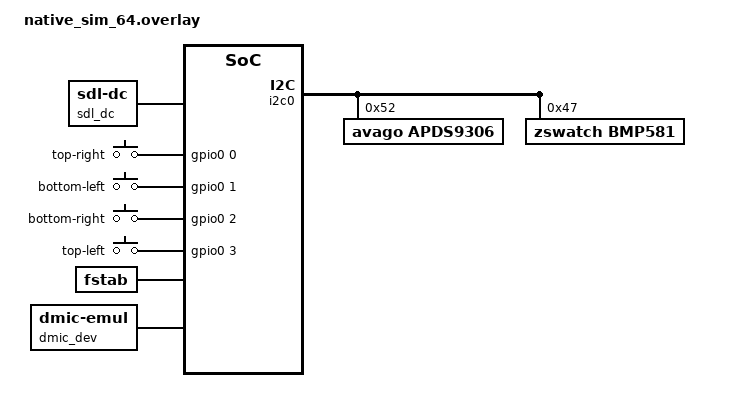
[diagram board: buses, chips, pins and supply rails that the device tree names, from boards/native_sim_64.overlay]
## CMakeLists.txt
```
# Copyright (c) 2025 ZSWatch Project
# SPDX-License-Identifier: Apache-2.0

cmake_minimum_required(VERSION 3.20.0)

set(BOARD_ROOT ${CMAKE_CURRENT_SOURCE_DIR})

find_package(Zephyr REQUIRED HINTS $ENV{ZEPHYR_BASE})
project(ZSWatchFW)

set(XIP_RELOCATE_SOURCES "")

zephyr_compile_definitions(
  -DNRF53_ERRATA_159_ENABLE_WORKAROUND=0 # Not allowing 128MHz CPU with QPSI at same time. We take the risk of this errata that may cause currupt QPSI data.
)

add_subdirectory(drivers)
add_subdirectory(src/history)
add_subdirectory(src/applications)
add_subdirectory(src/sensors)
add_subdirectory(src/sensor_fusion)
add_subdirectory(src/events)
add_subdirectory(src/managers)
add_subdirectory(src/drivers)
add_subdirectory(src/ble)
add_subdirectory(src/codec)
add_subdirectory(src/images)
add_subdirectory(src/ui)
add_subdirectory(lvgl_editor)


include_directories(src/)
include_directories(src/codec)
include_directories(src/ui)
include_directories(src/applications)
include_directories(src/managers)
include_directories(src/events)
include_directories(src/drivers)
include_directories(src/sensors)
include_directories(src/sensor_fusion)
include_directories(src/ble)

#
# Magnetometer calibration library
#


FILE(GLOB mag_calib_sources
    src/ext/magnetometer_calibration/*.c
)

target_sources(app PRIVATE ${mag_calib_sources})

target_include_directories(app PRIVATE
    src/ext/magnetometer_calibration
)



if(CONFIG_AUDIO_DMIC)
set(kissfft_sources
    src/ext_drivers/kissfft/kiss_fft.c
    src/ext_drivers/kissfft/kiss_fftr.c
)

target_sources(app PRIVATE ${kissfft_sources})

set_source_files_properties(${kissfft_sources} PROPERTIES
    COMPILE_OPTIONS "-include;zephyr/kernel.h"
)

target_include_directories(app PRIVATE src/ext_drivers/kissfft)

target_compile_definitions(app PRIVATE
    kiss_fft_scalar=float
    KISS_FFT_MALLOC=k_malloc
    KISS_FFT_FREE=k_free
)

endif()

if (CONFIG_DT_HAS_NORDIC_NPM1300_ENABLED)
    add_subdirectory(src/fuel_gauge)
else()
    add_subdirectory(src/basic_battery)
endif()

target_sources(app PRIVATE src/zsw_clock.c)
target_sources(app PRIVATE src/zsw_weather.c)
target_sources(app PRIVATE src/zsw_settings.c)
target_sources(app PRIVATE src/main.c)
target_sources(app PRIVATE src/zsw_wdt.c)
target_sources(app PRIVATE src/zsw_cpu_freq.c)
target_sources_ifdef(CONFIG_ZSW_FAST_MEMCPY app PRIVATE src/zsw_string.c)
target_sources(app PRIVATE src/zsw_retained_ram_storage.c)
target_sources(app PRIVATE src/zsw_coredump.c)
target_sources_ifdef(CONFIG_SHELL app PRIVATE src/zsw_shell.c)

target_sources(app PRIVATE src/ui/notification/zsw_popup_notification.c)
target_sources_ifdef(CONFIG_ZSW_NOTIFICATION_REPLY app PRIVATE src/ui/notification/zsw_notification_reply.c)
target_sources(app PRIVATE src/ui/popup/zsw_popup_window.c)
target_sources(app PRIVATE src/ui/app_picker/app_picker_ui.c)
target_sources(app PRIVATE src/ui/utils/zsw_ui_utils.c)
target_sources(app PRIVATE src/ui/onboarding/zsw_onboarding_ui.c)

target_sources_ifdef(CONFIG_SPI_FLASH_LOADER app PRIVATE src/filesystem/zsw_rtt_flash_loader.c)
target_sources_ifdef(CONFIG_FILE_SYSTEM_LITTLEFS app PRIVATE src/filesystem/zsw_filesystem.c)
target_sources_ifdef(CONFIG_FILE_SYSTEM app PRIVATE src/filesystem/zsw_custom_fs.c)
target_sources_ifdef(CONFIG_FILE_SYSTEM app PRIVATE src/filesystem/zsw_image_decoder.c)
target_sources_ifdef(CONFIG_FILE_SYSTEM app PRIVATE src/filesystem/zsw_custom_bg.c)

if(CONFIG_ZSW_FS_EMBEDDED_IMAGE)
    set(ZSW_FS_IMAGE_FILE ${CMAKE_CURRENT_BINARY_DIR}/lvgl_resources_raw.bin)
    set(ZSW_FS_IMAGE_SCRIPT ${CMAKE_CURRENT_SOURCE_DIR}/scripts/create_custom_resource_image.py)
    file(GLOB ZSW_FS_IMAGE_SOURCES CONFIGURE_DEPENDS src/images/binaries/S/*)
    if(CONFIG_ZSW_FS_TEST_LEGACY_IMAGE)
        set(ZSW_FS_IMAGE_ARGS --legacy)
    endif()

    add_custom_command(
        OUTPUT ${ZSW_FS_IMAGE_FILE}
        COMMAND ${PYTHON_EXECUTABLE} ${ZSW_FS_IMAGE_SCRIPT} ${ZSW_FS_IMAGE_ARGS}
                --img-filename ${ZSW_FS_IMAGE_FILE} ${CMAKE_CURRENT_SOURCE_DIR}/src/images/binaries/S
        DEPENDS ${ZSW_FS_IMAGE_SCRIPT} ${ZSW_FS_IMAGE_SOURCES}
        COMMENT "Generating image resource filesystem"
    )

    target_sources(app PRIVATE src/filesystem/zsw_custom_fs_embedded_image.c)
    set_source_files_properties(src/filesystem/zsw_custom_fs_embedded_image.c PROPERTIES
        COMPILE_DEFINITIONS ZSW_FS_EMBEDDED_IMAGE_FILE="${ZSW_FS_IMAGE_FILE}"
        OBJECT_DEPENDS ${ZSW_FS_IMAGE_FILE}
    )
endif()

target_sources_ifdef(CONFIG_RTC_ALARM app PRIVATE src/zsw_alarm.c)

target_compile_definitions(app PRIVATE _POSIX_C_SOURCE=200809L)

FILE(GLOB events_sources src/events/*.c)
target_sources(app PRIVATE ${events_sources})

add_compile_definitions(LV_LVGL_H_INCLUDE_SIMPLE)

file(GLOB ext_fs_files "src/images/binaries/S/*.*")
list(LENGTH ext_fs_files num_ext_fs_files)
add_compile_definitions(NUM_RAW_FS_FILES=${num_ext_fs_files})
message("Number of external filesystem files:" ${num_ext_fs_files})

# TODO fix all of them. New since NCS 2.7
set_target_properties(app PROPERTIES COMPILE_FLAGS -Wno-double-promotion)
zephyr_compile_options(-Wno-double-promotion)

# XIP Code Relocation

# Resolve LVGL through Zephyr so relocation also works with an external SDK workspace.
# Relocate some LVGL sources to external flash.
# More can be added here if needed.
# Note code running from external flash is slower than internal flash.
# So choose wisely...
list(APPEND XIP_RELOCATE_SOURCES
    ${ZEPHYR_LVGL_MODULE_DIR}/src/font/lv_font_montserrat_10.c
    ${ZEPHYR_LVGL_MODULE_DIR}/src/font/lv_font_montserrat_12.c
    ${ZEPHYR_LVGL_MODULE_DIR}/src/font/lv_font_montserrat_14.c
    ${ZEPHYR_LVGL_MODULE_DIR}/src/font/lv_font_montserrat_16.c
    ${ZEPHYR_LVGL_MODULE_DIR}/src/font/lv_font_montserrat_18.c
    ${ZEPHYR_LVGL_MODULE_DIR}/src/font/lv_font_montserrat_20.c
    ${ZEPHYR_LVGL_MODULE_DIR}/src/font/lv_font_montserrat_28.c
    ${ZEPHYR_LVGL_MODULE_DIR}/src/widgets/chart/lv_chart.c
    ${ZEPHYR_LVGL_MODULE_DIR}/src/widgets/scale/lv_scale.c
    ${ZEPHYR_LVGL_MODULE_DIR}/src/widgets/dropdown/lv_dropdown.c
    ${ZEPHYR_LVGL_MODULE_DIR}/src/widgets/buttonmatrix/lv_buttonmatrix.c
    ${ZEPHYR_LVGL_MODULE_DIR}/src/widgets/slider/lv_slider.c
    ${ZEPHYR_LVGL_MODULE_DIR}/src/widgets/menu/lv_menu.c
    ${ZEPHYR_LVGL_MODULE_DIR}/src/widgets/imagebutton/lv_imagebutton.c
    ${ZEPHYR_LVGL_MODULE_DIR}/src/widgets/led/lv_led.c
    ${ZEPHYR_LVGL_MODULE_DIR}/src/widgets/checkbox/lv_checkbox.c
)

zephyr_code_relocate(FILES ${XIP_RELOCATE_SOURCES} LOCATION EXTFLASH_TEXT NOCOPY)
zephyr_code_relocate(FILES ${XIP_RELOCATE_SOURCES} LOCATION EXTFLASH_RODATA NOCOPY)
zephyr_code_relocate(FILES ${XIP_RELOCATE_SOURCES} LOCATION RAM_DATA)

if (CONFIG_USB_DEVICE_STACK)
    # USB can work in XIP as when plugging in VBUS (nPM1300 notifies us) we turn on XIP always on.
    # Also in update_app we turn on XIP always on before enabling USB.
    zephyr_code_relocate(LIBRARY drivers__usb__device LOCATION EXTFLASH_TEXT NOCOPY)
    zephyr_code_relocate(LIBRARY drivers__usb__device LOCATION RAM_DATA)

    zephyr_code_relocate(LIBRARY drivers__usb__common__nrf_usbd_common LOCATION EXTFLASH_TEXT NOCOPY)
    zephyr_code_relocate(LIBRARY drivers__usb__common__nrf_usbd_common LOCATION RAM_DATA)
endif()
```

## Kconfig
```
# ZSWatch board configuration

# Copyright (c) 2025 ZSWatch Project
# SPDX-License-Identifier: Apache-2.0

menu "Zephyr Kernel"
    source "Kconfig.zephyr"
endmenu

menu "ZSWatch"
    config ZSW_XIP
        bool
        prompt "Enable XIP"
        select HAVE_CUSTOM_LINKER_SCRIPT
        select CODE_DATA_RELOCATION
        select BUILD_NO_GAP_FILL
        select NORDIC_QSPI_NOR_XIP
        default n

    config ZSW_FS_EMBEDDED_IMAGE
        bool "Link the image resource filesystem into the executable"
        default y if ARCH_POSIX
        depends on FILE_SYSTEM && !ZSW_XIP
        help
          For targets without external flash. The image is built from
          src/images/binaries/S and read as if it was memory mapped flash.

    config ZSW_FS_TEST_NO_MAPPING
        bool "Read the embedded image resource filesystem as if not memory mapped"
        depends on ZSW_FS_EMBEDDED_IMAGE
        help
          Only for testing the code used on hardware while XIP is disabled.

    config ZSW_FS_TEST_LEGACY_IMAGE
        bool "Embed an image resource filesystem in the old format without file index"
        depends on ZSW_FS_EMBEDDED_IMAGE
        help
          Only for testing that images made by older tools can still be read.

    config ZSW_FAST_MEMCPY
        bool "Word based memcpy, memmove and memset"
        default y
        depends on ARMV7_M_ARMV8_M_MAINLINE && PICOLIBC_USE_TOOLCHAIN && !TRAP_UNALIGNED_ACCESS
        help
          The picolibc in the Zephyr SDK is built for size and copies one byte
          at a time. LVGL uses memcpy and memset for every rendered row, so
          replace them with versions that move a word at a time.

    config ZSW_FW_UPDATE
        bool
        prompt "Enable firmware update"
        select NORDIC_QSPI_NOR
        select PM_OVERRIDE_EXTERNAL_DRIVER_CHECK
        select PM_PARTITION_REGION_SETTINGS_STORAGE_EXTERNAL
        select PM_PARTITION_REGION_LITTLEFS_EXTERNAL
        select NCS_SAMPLE_MCUMGR_BT_OTA_DFU
        # FOTA
        select MCUMGR
        select MCUMGR_GRP_OS
        select MCUMGR_GRP_OS_TASKSTAT
        select MCUMGR_GRP_FS
        select MCUMGR_GRP_FS_FILE_ACCESS_HOOK
        select MCUMGR_MGMT_NOTIFICATION_HOOKS
        select MCUMGR_SMP_COMMAND_STATUS_HOOKS
        select MCUMGR_GRP_IMG
        select MCUMGR_GRP_IMG_UPLOAD_CHECK_HOOK
        select MCUMGR_GRP_IMG_IMAGE_SLOT_STATE_HOOK
        select MCUMGR_GRP_IMG_STATUS_HOOKS
        # Enable MCUMGR management for both OS and Images

        # Enable Shell over MCUmgr
        select MCUMGR_GRP_SHELL
        select SHELL
        select SHELL_MINIMAL
        select SHELL_BACKEND_DUMMY
        select SHELL_HELP
        select CONSOLE

        select BASE64
        select MCUMGR_TRANSPORT_DUMMY
        select MCUMGR_TRANSPORT_BT

        # Dependencies
        # Configure dependencies for select MCUMGR
        select NET_BUF
        select ZCBOR
        select CRC

        # Configure dependencies for select MCUMGR_GRP_IMG
        select FLASH
        select IMG_MANAGER

        # Configure dependencies for select IMG_MANAGER
        select STREAM_FLASH
        select FLASH_MAP

        default n

    rsource "src/applications/Kconfig"
    rsource "src/managers/Kconfig"
    rsource "drivers/Kconfig"
    rsource "src/ui/Kconfig"
    rsource "src/sensors/Kconfig"
    rsource "src/sensor_fusion/Kconfig"
    rsource "src/codec/Kconfig"
    rsource "src/ble/Kconfig"

    menu "Default configuration"
        menu "ZSWatch Init Priorities"
            config DEFAULT_CONFIGURATION_DRIVER_INIT_PRIORITY
                int
                default 85
        endmenu

        menu "Power Management"
            config POWER_MANAGEMENT_IDLE_TIMEOUT_SECONDS
                int
            prompt "Idle timeout in seconds"
            default 20

            rsource "src/fuel_gauge/Kconfig"
        endmenu
    endmenu

    menu "SPI RTT Flash Loader"
        config SPI_FLASH_LOADER
            bool
        prompt "Enable SPI flash loader"
        default n
        select USE_SEGGER_RTT
        help
            "Enable SPI flash loader"

        if SPI_FLASH_LOADER
            config ERASE_PROGRESSIVELY
                bool
            depends on SPI_FLASH_LOADER
            prompt "Erase sectors one by one when writing instead of full partition before starting."
            default y
            help
                If not writing to the full partition this will be faster

            config RTT_TRANSFER_CHANNEL
                int
            depends on SPI_FLASH_LOADER
            prompt "The RTT channel to use for transfer of data to and form flash"
            default 2
            help
                If RTT logging is enabled, channel 0 is used for this, hence avoid 1 in this scenario.
        endif
    endmenu

    menu "Misc"
        config MISC_ENABLE_SYSTEM_RESET
            bool
        prompt "Enable a system reset via button 3"
        default n

        config MISC_HISTORY_MAX_LENGTH
            int
        range 10 65535
        prompt "The maximum history length in samples"
        default 672
    endmenu

    menu "Testing"
        config ZSW_TEST_SKIP_ONBOARDING
            bool "Skip onboarding wizard on first boot"
            default n
            help
              Bypasses the first-boot onboarding UI. Useful for automated
              testing where the onboarding flow is not relevant.

        config ZSW_TEST_AUTO_LAUNCH_APP
            string "App to auto-launch at boot (empty = none)"
            default ""
            help
              If set to an app name (e.g., "Calculator"), the firmware will
              automatically launch that app after boot instead of staying on
              the watchface. Useful for testing a specific app without needing
              to navigate the UI.
    endmenu

    menu "Logging"
        module = ZSW_APP
        module-str = ZSW_APP
        source "subsys/logging/Kconfig.template.log_config"

        rsource "src/basic_battery/Kconfig"
        rsource "src/history/Kconfig"
    endmenu
endmenu
```

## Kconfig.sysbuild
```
# Copyright (c) 2025 ZSWatch Project
# SPDX-License-Identifier: Apache-2.0

source "share/sysbuild/Kconfig"

config NRF_DEFAULT_IPC_RADIO
	default y

config NETCORE_IPC_RADIO_BT_HCI_IPC
	default y
```

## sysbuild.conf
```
# Copyright (c) 2025 ZSWatch Project
# SPDX-License-Identifier: Apache-2.0


# Enable bootloaders for both cores
SB_CONFIG_BOOTLOADER_MCUBOOT=y
SB_CONFIG_SECURE_BOOT_NETCORE=y
SB_CONFIG_NETCORE_APP_UPDATE=y

SB_CONFIG_MCUBOOT_UPDATEABLE_IMAGES=3

# Settings required for external flash to be used for DFU
SB_CONFIG_PM_EXTERNAL_FLASH_MCUBOOT_SECONDARY=y
SB_CONFIG_PM_OVERRIDE_EXTERNAL_DRIVER_CHECK=y
SB_CONFIG_MCUBOOT_MODE_OVERWRITE_ONLY=y

# XIP
SB_CONFIG_QSPI_XIP_SPLIT_IMAGE=y

# We don't care about secure boot, rather save flash space
SB_CONFIG_BOOT_SIGNATURE_TYPE_NONE=y
SB_CONFIG_BOOT_SIGNATURE_TYPE_RSA=n
SB_CONFIG_BOOT_SIGNATURE_TYPE_ECDSA_P256=n
SB_CONFIG_BOOT_SIGNATURE_TYPE_ED25519=n
```

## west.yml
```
manifest:
  self:
    west-commands: scripts/west-commands.yml

  remotes:
    - name: sdk
      url-base: https://github.com/nrfconnect
    - name: zswatch
      url-base: https://github.com/ZSWatch

  projects:
    - name: sdk-nrf
      remote: sdk
      revision: v3.3.0-preview1
      path: nrf
      import:
        name-blocklist:
          - azure-sdk-for-c
          - bsim
          - canopennode
          - chre
          - ci-tools
          - edtt
          - hal_altera
          - hal_cypress
          - hal_infineon
          - hal_microchip
          - hal_nxp
          - hal_openisa
          - hal_silabs
          - hal_ti
          - hal_xtensa
          - liblc3
          - nrf_wifi
          - hostap
          - loramac-node
          - mipi-sys-t
          - matter
          - memfault-firmware-sdk
          - nanopb
          - net-tools
          - nrf_hw_models
          - openthread
          - percepio
          - psa-arch-tests
          - qcbor
          - tf-m-tests
          - sof
          - trusted-firmware-m
          - zscilib
          - wfa-qt-control-app
      clone-depth: 1

    - name: Zephyr-MAX32664C
      remote: zswatch
      revision: 8a83f1b70b1c85bcc5c4505573e6825e3e586a0f
      path: modules/lib/max32664c
```

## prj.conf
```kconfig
# Copyright (c) 2025 ZSWatch Project
# SPDX-License-Identifier: Apache-2.0

CONFIG_MAIN_STACK_SIZE=2048
CONFIG_SYSTEM_WORKQUEUE_STACK_SIZE=9500
CONFIG_HEAP_MEM_POOL_SIZE=58000
CONFIG_CBPRINTF_FP_SUPPORT=y
CONFIG_DEBUG_THREAD_INFO=y

# Shell: kernel thread monitoring
CONFIG_KERNEL_SHELL=y
CONFIG_THREAD_MONITOR=y
CONFIG_THREAD_STACK_INFO=y
CONFIG_INIT_STACKS=y
CONFIG_THREAD_ANALYZER=y
CONFIG_THREAD_ANALYZER_USE_LOG=n
CONFIG_THREAD_ANALYZER_USE_PRINTK=n

CONFIG_COMMON_LIBC_MALLOC_ARENA_SIZE=6144

CONFIG_ASSERT=y
CONFIG_ASSERT_VERBOSE=n
CONFIG_BT_ASSERT_VERBOSE=n
CONFIG_REBOOT=y
CONFIG_DISPLAY=y
CONFIG_BASE64=y

CONFIG_RETAINED_MEM=y
CONFIG_RETENTION=y
CONFIG_RETENTION_BOOT_MODE=y

CONFIG_I2C=y
CONFIG_SENSOR=y
CONFIG_ADC=y
CONFIG_LIS2MDL=y
CONFIG_LIS2MDL_MAG_ODR_RUNTIME=y
CONFIG_LIS2MDL_TRIGGER_OWN_THREAD=y

CONFIG_PINCTRL=y
CONFIG_PM_DEVICE=y
CONFIG_PM_DEVICE_RUNTIME=y
CONFIG_PM_DEVICE_RUNTIME_DEFAULT_ENABLE=n

CONFIG_PWM=y

CONFIG_COUNTER=y
CONFIG_NRFX_TIMER=y

CONFIG_SPI=y
CONFIG_GC9A01=y
CONFIG_INPUT=y
CONFIG_INPUT_SHELL=y
CONFIG_REGULATOR=y
CONFIG_REGULATOR_FIXED=y

# Used by Calculator app
CONFIG_SMF=y
CONFIG_SMF_ANCESTOR_SUPPORT=y
CONFIG_SMF_INITIAL_TRANSITION=y

# LVGL configuration
CONFIG_LVGL=y
CONFIG_LV_Z_LVGL_MUTEX=y
CONFIG_LV_Z_FLUSH_THREAD=y
CONFIG_LV_Z_FLUSH_THREAD_PRIORITY=-2
CONFIG_LV_FONT_MONTSERRAT_10=y
CONFIG_LV_FONT_MONTSERRAT_12=y
CONFIG_LV_FONT_MONTSERRAT_14=y
CONFIG_LV_FONT_MONTSERRAT_16=y
CONFIG_LV_FONT_MONTSERRAT_18=y
CONFIG_LV_FONT_MONTSERRAT_20=y
CONFIG_LV_FONT_MONTSERRAT_28=y
# Old events are dropped when LVGL falls behind (see patches/zephyr/touch_queue_drop_oldest_event.patch),
# so a short queue is enough.
CONFIG_LV_Z_POINTER_INPUT_MSGQ_COUNT=32
CONFIG_LV_Z_POINTER_INPUT=y

CONFIG_LV_CACHE_DEF_SIZE=10
CONFIG_LV_IMAGE_HEADER_CACHE_DEF_CNT=10
CONFIG_LV_USE_CUSTOM_SPRINTF=y
CONFIG_LV_Z_DOUBLE_VDB=y
CONFIG_LV_Z_VDB_SIZE=10
CONFIG_LV_DEF_REFR_PERIOD=30

CONFIG_LV_THEME_DEFAULT_DARK=y
CONFIG_LV_USE_THEME_DEFAULT=y

CONFIG_LV_COLOR_16_SWAP=y
CONFIG_LV_COLOR_DEPTH_16=y

# LVGL Size optimizations
CONFIG_LV_CONF_MINIMAL=y
CONFIG_LV_LABEL_TEXT_SELECTION=n
CONFIG_LV_LABEL_LONG_TXT_HINT=n
# LVGL logging costs tens of KB of flash (file/function strings at every call site).
# LVGL asserts still trap through __ASSERT. Set CONFIG_LV_USE_LOG=y and a
# CONFIG_LV_LOG_LEVEL_* when debugging LVGL.
CONFIG_LV_USE_LOG=n
CONFIG_LV_USE_DROPDOWN=y
CONFIG_LV_USE_LINE=y
CONFIG_LV_USE_SLIDER=y
CONFIG_LV_USE_SWITCH=y
CONFIG_LV_USE_FLEX=y
CONFIG_LV_USE_ANIMIMG=y
CONFIG_LV_USE_CHART=y
CONFIG_LV_USE_LED=y
CONFIG_LV_USE_MENU=y
CONFIG_LV_USE_MSGBOX=y
CONFIG_LV_USE_SPINNER=y
CONFIG_LV_USE_TILEVIEW=y
CONFIG_LV_USE_LABEL=y
CONFIG_LV_USE_IMAGE=y
CONFIG_LV_USE_ARC=y
CONFIG_LV_USE_BUTTON=y
CONFIG_LV_USE_BUTTONMATRIX=y
CONFIG_LV_USE_IMAGEBUTTON=y
CONFIG_LV_USE_CHECKBOX=y
CONFIG_LV_USE_SCALE=y
# LVGL's NULL/malloc checks expand at every LVGL API call and cost several KB of
# internal and external flash. Zephyr __ASSERT stays on.
CONFIG_LV_USE_ASSERT_NULL=n
CONFIG_LV_USE_ASSERT_MALLOC=n
CONFIG_LV_FONT_DEFAULT_MONTSERRAT_14=y
CONFIG_LV_WIDGETS_HAS_DEFAULT_VALUE=y
CONFIG_LV_TXT_ENC_UTF8=y
CONFIG_LV_USE_BIDI=y

CONFIG_LV_DRAW_SW_SUPPORT_RGB565=y
CONFIG_LV_DRAW_SW_SUPPORT_RGB565A8=y
CONFIG_LV_DRAW_SW_SUPPORT_RGB888=n
CONFIG_LV_DRAW_SW_SUPPORT_XRGB8888=n
CONFIG_LV_DRAW_SW_SUPPORT_ARGB8888=y
CONFIG_LV_DRAW_SW_SUPPORT_L8=n
CONFIG_LV_DRAW_SW_SUPPORT_AL88=n
CONFIG_LV_DRAW_SW_SUPPORT_A8=n
CONFIG_LV_DRAW_SW_SUPPORT_I1=n

#
# Memory settings
#
CONFIG_LV_Z_MEM_POOL_SIZE=50000
# end of Memory settings

# NVS
CONFIG_FLASH=y
CONFIG_FLASH_INIT_PRIORITY=40
CONFIG_FLASH_MAP=y
CONFIG_MPU_ALLOW_FLASH_WRITE=y
CONFIG_FLASH_PAGE_LAYOUT=y
CONFIG_STREAM_FLASH=y
CONFIG_STREAM_FLASH_ERASE=y
CONFIG_FLASH_MAP_LABELS=y

CONFIG_SETTINGS=y
CONFIG_NVS=y
# Init NVS on non-empty flash (e.g. factory-fresh QSPI)
CONFIG_NVS_INIT_BAD_MEMORY_REGION=y

# Filesystem
CONFIG_FILE_SYSTEM=y
CONFIG_FILE_SYSTEM_MKFS=y
CONFIG_FILE_SYSTEM_LITTLEFS=y
CONFIG_LV_Z_USE_FILESYSTEM=y

CONFIG_MCUMGR_GRP_FS_MAX_FILE_SIZE_4GB=y
CONFIG_MCUMGR_GRP_FS_FILE_STATUS=y
# Lets the phone verify a downloaded recording before deleting it on the watch.
CONFIG_MCUMGR_GRP_FS_CHECKSUM_HASH=y
CONFIG_MCUMGR_GRP_FS_HASH_SHA256=y

CONFIG_FS_LITTLEFS_FC_HEAP_SIZE=16384
CONFIG_FS_LITTLEFS_NUM_FILES=64

# Image resources
CONFIG_DEBUG_COREDUMP_BACKEND_OTHER=y

# Bluetooth
CONFIG_BT=y
CONFIG_BT_HCI=y
CONFIG_BT_HCI_ACL_FLOW_CONTROL=y
# Enable chaining of multiple CTEs in periodic advertising
CONFIG_BT_SMP=y
CONFIG_BT_SMP_APP_PAIRING_ACCEPT=y
# Only a bonded, encrypted link may use MCUmgr (firmware update, files, shell).
CONFIG_MCUMGR_TRANSPORT_BT_PERM_RW_ENCRYPT=y
CONFIG_BT_PERIPHERAL=y
CONFIG_BT_DIS=y
CONFIG_BT_DIS_PNP=n
CONFIG_BT_DIS_HW_REV=y
CONFIG_BT_DIS_MODEL_NUMBER=y
CONFIG_BT_DIS_MODEL_NUMBER_STR="ZSWatch"
CONFIG_BT_BAS=y
CONFIG_BT_HRS=n
CONFIG_BT_DEVICE_NAME="ZSWatch"
CONFIG_BT_DEVICE_NAME_DYNAMIC=y
CONFIG_BT_DEVICE_APPEARANCE=194
CONFIG_BT_KEYS_OVERWRITE_OLDEST=y
CONFIG_BT_SETTINGS=y
CONFIG_BT_MAX_PAIRED=5
CONFIG_BT_MAX_CONN=1
CONFIG_BT_GATT_CLIENT=y
CONFIG_BT_GATT_CACHING=y
CONFIG_BT_GATT_NOTIFY_MULTIPLE=y
# Full MTU-3 payloads do not fit the larger multiple-notification header.
CONFIG_BT_GATT_NOTIFY_MULTIPLE_FLUSH_MS=0

CONFIG_BT_BROADCASTER=y
CONFIG_BT_SMP_ALLOW_UNAUTH_OVERWRITE=y
# ble_comm requests security itself, after giving the phone time to start.
CONFIG_BT_GATT_AUTO_SEC_REQ=n

CONFIG_BT_L2CAP_TX_MTU=247
CONFIG_BT_BUF_ACL_RX_SIZE=502
CONFIG_BT_BUF_ACL_TX_SIZE=251

# Each ACL RX buffer is ~530 B of RAM. More buffers don't speed up SMP transfers.
# Host flow control is on, so running out only slows the link down.
CONFIG_BT_BUF_ACL_RX_COUNT_EXTRA=6
CONFIG_BT_BUF_EVT_RX_COUNT=20
CONFIG_BT_BUF_ACL_TX_COUNT=15

CONFIG_BT_DATA_LEN_UPDATE=y
CONFIG_BT_AUTO_PHY_PERIPHERAL_2M=y
CONFIG_BT_USER_PHY_UPDATE=y
CONFIG_BT_USER_DATA_LEN_UPDATE=y
CONFIG_BT_AUTO_DATA_LEN_UPDATE=y
CONFIG_BT_GAP_AUTO_UPDATE_CONN_PARAMS=n
# Idle connection parameters (400-500 ms), used by ble_comm.c when no
# short-interval reason is active.
CONFIG_BT_PERIPHERAL_PREF_MIN_INT=320
CONFIG_BT_PERIPHERAL_PREF_MAX_INT=400
CONFIG_BT_PERIPHERAL_PREF_TIMEOUT=400
# ble_comm.c decides when to request parameters (after the MTU exchange);
# do not let Zephyr hold the first request back.
CONFIG_BT_CONN_PARAM_UPDATE_TIMEOUT=0

# ble_comm.c owns the connection interval; SMP traffic is one of its reasons.
CONFIG_MCUMGR_TRANSPORT_BT_CONN_PARAM_CONTROL=n

# iOS ble GATT server
CONFIG_BT_GATTP=y
CONFIG_BT_GATT_DM=y
CONFIG_BT_AMS_CLIENT=y
CONFIG_BT_ANCS_CLIENT=y
CONFIG_BT_CTS_CLIENT=y

# Don't change this
CONFIG_BT_RECV_WORKQ_SYS=y

CONFIG_PICOLIBC=y
CONFIG_PICOLIBC_IO_FLOAT=y
# Time, timezone and environment support without unused POSIX thread pools.
CONFIG_POSIX_SYSTEM_INTERFACES=y
CONFIG_POSIX_TIMERS=y
CONFIG_POSIX_SINGLE_PROCESS=y
CONFIG_XSI_SINGLE_PROCESS=y

# By default disable UART to save power

CONFIG_ZBUS=y
CONFIG_ZBUS_RUNTIME_OBSERVERS=y
CONFIG_ZBUS_CHANNEL_NAME=y
CONFIG_ZBUS_OBSERVER_NAME=y
CONFIG_ZBUS_CHANNELS_SYS_INIT_PRIORITY=1

# Choose one or many of below
CONFIG_WATCHFACE_DIGITAL=y
CONFIG_WATCHFACE_MINIMAL=n

# Default watch
CONFIG_POWER_MANAGEMENT_IDLE_TIMEOUT_SECONDS=20
# Until proper magnetometer calibration is implemented, disable it by default as it makes fusion worse
CONFIG_SENSOR_FUSION_INCLUDE_MAGNETOMETER=n

# CST816S
CONFIG_INPUT_CST816S_INTERRUPT=y
CONFIG_INPUT_CST816S=y
CONFIG_INPUT_CST816S_EV_DEVICE=y

# BMI270
CONFIG_ZSW_BMI270=y
CONFIG_ZSW_BMI270_TRIGGER_GLOBAL_THREAD=y

CONFIG_RESET_ON_FATAL_ERROR=y

CONFIG_DEBUG_COREDUMP=y
CONFIG_DEBUG_COREDUMP_MEMORY_DUMP_MIN=y
CONFIG_RETENTION_MUTEX_FORCE_DISABLE=y
CONFIG_RETAINED_MEM_MUTEX_FORCE_DISABLE=y
CONFIG_RETENTION_BUFFER_SIZE=256

CONFIG_CJSON_LIB=y
CONFIG_MPU=y

# Configure logging, same for debug and release builds.
# Debug logs are not compiled in; raise CONFIG_LOG_MAX_LEVEL to 4 locally to get them.
CONFIG_LOG_MAX_LEVEL=3
# Zephyr, NCS and other external code: warnings and errors only.
CONFIG_LOG_DEFAULT_LEVEL=2
# The BLE log backend formats text itself. Release builds have no UART/RTT
# backend to enable this, and without it the text formatter is NULL.
CONFIG_LOG_OUTPUT=y
# ZSWatch modules with a Kconfig log level.
CONFIG_ZSW_AUDIO_CODEC_LOG_LEVEL_INF=y
CONFIG_ZSW_BATTERY_LOG_LEVEL_INF=y
CONFIG_ZSW_BLE_LOG_LEVEL_INF=y
CONFIG_ZSW_CHAT_APP_LOG_LEVEL_INF=y
CONFIG_ZSW_HISTORY_LOG_LEVEL_INF=y
CONFIG_ZSW_NOTIFICATION_REPLY_LOG_LEVEL_INF=y
CONFIG_ZSW_PWR_MANAGER_LOG_LEVEL_INF=y
CONFIG_ZSW_REMOTE_APP_LOG_LEVEL_INF=y
CONFIG_ZSW_SENSORS_FUSION_LOG_LEVEL_INF=y
CONFIG_ZSW_SENSORS_LOG_LEVEL_WRN=y
CONFIG_ZSW_SETTINGS_APP_LOG_LEVEL_WRN=y
CONFIG_ZSW_TILES_APP_LOG_LEVEL_INF=y
CONFIG_ZSW_TRIVIA_APP_LOG_LEVEL_INF=y
CONFIG_ZSW_VOICE_MEMO_LOG_LEVEL_INF=y
CONFIG_NOTIFICATION_APP_LOG_LEVEL_INF=y
CONFIG_ZSW_APP_LOG_LEVEL_WRN=y
CONFIG_ZSW_XIP_MANAGER_LOG_LEVEL_WRN=y
CONFIG_ZSW_MIC_MANAGER_LOG_LEVEL_WRN=y
CONFIG_ZSW_UI_CONTROLLER_LOG_LEVEL_WRN=y
```

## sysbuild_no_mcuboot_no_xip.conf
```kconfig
# Copyright (c) 2025 ZSWatch Project
# SPDX-License-Identifier: Apache-2.0
```

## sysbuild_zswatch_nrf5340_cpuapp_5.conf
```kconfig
SB_CONFIG_BOOTLOADER_MCUBOOT=y
SB_CONFIG_MCUBOOT_UPDATEABLE_IMAGES=3

# Enable bootloaders for both cores
SB_CONFIG_BOOTLOADER_MCUBOOT=y
SB_CONFIG_SECURE_BOOT_NETCORE=y
SB_CONFIG_NETCORE_APP_UPDATE=y

# Settings required for external flash to be used for DFU
SB_CONFIG_PM_EXTERNAL_FLASH_MCUBOOT_SECONDARY=y
SB_CONFIG_PM_OVERRIDE_EXTERNAL_DRIVER_CHECK=y
SB_CONFIG_MCUBOOT_MODE_OVERWRITE_ONLY=y

# XIP
SB_CONFIG_QSPI_XIP_SPLIT_IMAGE=y
```

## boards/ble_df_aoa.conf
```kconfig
# Copyright (c) 2025 ZSWatch Project
# SPDX-License-Identifier: Apache-2.0

# Enable Direction Finding TX Feature including AoA and AoD
CONFIG_BT_DF=y
CONFIG_BT_DF_CONNECTIONLESS_CTE_TX=y

CONFIG_BT_EXT_ADV=y
CONFIG_BT_PER_ADV=y
CONFIG_BT_EXT_ADV_MAX_ADV_SET=2
```

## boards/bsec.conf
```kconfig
# Copyright (c) 2025 ZSWatch Project
# SPDX-License-Identifier: Apache-2.0

CONFIG_BME680=n
CONFIG_EXTERNAL_USE_BOSCH_BSEC=y
CONFIG_BME68X_IAQ_SAMPLE_RATE_ULTRA_LOW_POWER=y
```

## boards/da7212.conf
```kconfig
# Copyright (c) 2026 ZSWatch Project
# SPDX-License-Identifier: Apache-2.0

# DA7212 Audio Codec Test configuration

CONFIG_I2S=y
CONFIG_AUDIO=y
CONFIG_AUDIO_CODEC=y
CONFIG_CLOCK_CONTROL_FIXED_RATE_CLOCK=y

CONFIG_I2S_NRFX_ALLOW_MCK_BYPASS=y

CONFIG_APPLICATIONS_USE_DA7212_TEST=y
```

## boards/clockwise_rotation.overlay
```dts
/*
 * Copyright (c) 2025 ZSWatch Project
 * SPDX-License-Identifier: Apache-2.0
 */

&gc9a01 {
    rotation = <90>;
};

&lvgl_pointer_input {
    /delete-property/ swap-xy;
    /delete-property/ invert-x;
    invert-y;
    invert-x;
};

&button1 {
    label = "top-right";
    zephyr,code = <INPUT_KEY_3>;
};

&button2 {
    label = "bottom-left";
    zephyr,code = <INPUT_KEY_1>;
};

&button3 {
    label = "bottom-right";
    zephyr,code = <INPUT_KEY_KP0>;
};

&button4 {
    label = "top-left";
    zephyr,code = <INPUT_KEY_1>;
};

&bmi270 {
    rotation = <90>;
};
```

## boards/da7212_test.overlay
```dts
/*
 * Copyright (c) 2025 ZSWatch Project
 * SPDX-License-Identifier: Apache-2.0
 *
 * DA7212 Audio Codec Test overlay for WatchDK
 *
 * Wiring (WatchDK → DA7212 EVB):
 *   I2S header (X502):
 *     Pin 1: +1V8       → EVB VDD_IO / VDDA
 *     Pin 2: MCLK P1.07 → EVB MCLK
 *     Pin 3: WS   P1.09 → EVB WCLK (LRCK)
 *     Pin 4: Data P1.10 → EVB SDIN (nRF TX → codec RX)
 *     Pin 6: GND        → EVB GND
 *   GPIO header (X605):
 *     Pin 4: P1.14      → EVB BCLK (SCK)
 *   I2C (dedicated i2c3 instance):
 *     SDA P0.22  → EVB SDA
 *     SCL P0.05  → EVB SCL
 */

&pinctrl {
    i2s0_default: i2s0_default {
        group1 {
            psels = <NRF_PSEL(I2S_MCK, 1, 7)>,
                    <NRF_PSEL(I2S_SCK_M, 1, 14)>,
                    <NRF_PSEL(I2S_LRCK_M, 1, 9)>,
                    <NRF_PSEL(I2S_SDOUT, 1, 10)>;
        };
    };

    i2s0_sleep: i2s0_sleep {
        group1 {
            psels = <NRF_PSEL(I2S_MCK, 1, 7)>,
                    <NRF_PSEL(I2S_SCK_M, 1, 14)>,
                    <NRF_PSEL(I2S_LRCK_M, 1, 9)>,
                    <NRF_PSEL(I2S_SDOUT, 1, 10)>;
            low-power-enable;
        };
    };

    i2c3_default: i2c3_default {
        group1 {
            psels = <NRF_PSEL(TWIM_SDA, 0, 22)>,
                    <NRF_PSEL(TWIM_SCL, 0, 5)>;
        };
    };

    i2c3_sleep: i2c3_sleep {
        group1 {
            psels = <NRF_PSEL(TWIM_SDA, 0, 22)>,
                    <NRF_PSEL(TWIM_SCL, 0, 5)>;
            low-power-enable;
        };
    };
};

/ {
    codec_mclk: codec-mclk {
        compatible = "fixed-clock";
        #clock-cells = <0>;
        clock-frequency = <12288000>;
    };

    aliases {
        i2s-codec-tx = &i2s0;
    };
};

&clock {
    hfclkaudio-frequency = <12288000>;
};

&i2s0 {
    status = "okay";
    pinctrl-0 = <&i2s0_default>;
    pinctrl-1 = <&i2s0_sleep>;
    pinctrl-names = "default", "sleep";
    clock-source = "ACLK";
};

&i2c3 {
    compatible = "nordic,nrf-twim";
    status = "okay";
    clock-frequency = <I2C_BITRATE_FAST>;
    pinctrl-0 = <&i2c3_default>;
    pinctrl-1 = <&i2c3_sleep>;
    pinctrl-names = "default", "sleep";

    audio_codec: da7212@1a {
        compatible = "dlg,da7212";
        reg = <0x1a>;
        clock-source = "MCLK";
        clocks = <&codec_mclk>;
        clock-names = "mclk";
    };
};
```

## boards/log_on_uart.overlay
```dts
/*
 * Copyright (c) 2025 ZSWatch Project
 * SPDX-License-Identifier: Apache-2.0
 */

/ {
    chosen {
        zephyr,console = &uart0;
    };
};

/* Runtime PM per logged byte stalls rendering, keep the UARTE enabled. */
&uart0 {
    /delete-property/ zephyr,pm-device-runtime-auto;
};
```

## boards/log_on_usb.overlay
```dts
/*
 * Copyright (c) 2025 ZSWatch Project
 * SPDX-License-Identifier: Apache-2.0
 */

/ {
    chosen {
        zephyr,console = &cdc_acm_uart0;
    };
};
```

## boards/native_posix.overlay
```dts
#include <zephyr/dt-bindings/input/input-event-codes.h>

/{
    sdl_dc {
        compatible = "zephyr,sdl-dc";
        height = <240>;
        width = <240>;
    };
};

// Map "Enter, Backspace, Arrow down and Arrow up" to gpio
// Check https://docs.zephyrproject.org/latest/build/dts/api/bindings/gpio/zephyr,gpio-emul-sdl.html for additional informations
&gpio0 {
    ngpios = <4>;

    sdl_gpio {
        compatible = "zephyr,gpio-emul-sdl";
        scancodes = <40 81 42 82>;
    };
};

/ {
	buttons: buttons {
        compatible = "gpio-keys";
        polling-mode; // Use polling, as none polling generates at boot buttons releases for each button. Which is not desired. Maybe a bug in Zephyr?

        key1: key1 {
            label = "top-right";
            gpios = <&gpio0 0 GPIO_ACTIVE_HIGH>;
            zephyr,code = <INPUT_KEY_1>;
        };
        key2: key2 {
            label = "bottom-left";
            gpios = <&gpio0 1 GPIO_ACTIVE_HIGH>;
            zephyr,code = <INPUT_KEY_2>;
        };
        key3: key3 {
            label = "bottom-right";
            gpios = <&gpio0 2 GPIO_ACTIVE_HIGH>;
            zephyr,code = <INPUT_KEY_3>;
        };
        key4: key4 {
            label = "top-left";
            gpios = <&gpio0 3 GPIO_ACTIVE_HIGH>;
            zephyr,code = <INPUT_KEY_4>;
        };
    };
};

/ {
	fstab {
		compatible = "zephyr,fstab";
		lvgl_lfs: lvgl_lfs {
			compatible = "zephyr,fstab,littlefs";
			mount-point = "/lvgl_lfs";
			partition = <&littlefs_storage>;
			automount;
			read-size = <1024>;
			prog-size = <512>;
			cache-size = <4096>;
			lookahead-size = <4096>;
			block-cycles = <512>;
		};
	};
};

&flash0 {
    partitions {
        littlefs_storage: partition@100000 {
			label = "littlefs_storage";
			reg = <0x00100000 0x000f0000>;
		};
        lvgl_raw_partition: partition@1f0000 {
			label = "lvgl_raw_partition";
			reg = <0x001f0000 0x0000d000>;
		};
    };
};
```

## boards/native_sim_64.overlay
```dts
/*
 * Copyright (c) 2025 ZSWatch Project
 * SPDX-License-Identifier: Apache-2.0
 */

#include <zephyr/dt-bindings/input/input-event-codes.h>

/{
    sdl_dc {
        compatible = "zephyr,sdl-dc";
        height = <240>;
        width = <240>;
    };
};

// Map "Enter, Backspace, Arrow down and Arrow up" to gpio
// Check https://docs.zephyrproject.org/latest/build/dts/api/bindings/gpio/zephyr,gpio-emul-sdl.html for additional informations
&gpio0 {
    ngpios = <4>;

    sdl_gpio {
        compatible = "zephyr,gpio-emul-sdl";
        scancodes = <40 81 42 82>;
    };
};

/ {
    buttons: buttons {
        compatible = "gpio-keys";
        polling-mode; // Use polling, as none polling generates at boot buttons releases for each button. Which is not desired. Maybe a bug in Zephyr?

        key1: key1 {
            label = "top-right";
            gpios = <&gpio0 0 GPIO_ACTIVE_HIGH>;
            zephyr,code = <INPUT_KEY_KP1>;
        };
        key2: key2 {
            label = "bottom-left";
            gpios = <&gpio0 1 GPIO_ACTIVE_HIGH>;
            zephyr,code = <INPUT_KEY_2>;
        };
        key3: key3 {
            label = "bottom-right";
            gpios = <&gpio0 2 GPIO_ACTIVE_HIGH>;
            zephyr,code = <INPUT_KEY_3>;
        };
        key4: key4 {
            label = "top-left";
            gpios = <&gpio0 3 GPIO_ACTIVE_HIGH>;
            zephyr,code = <INPUT_KEY_4>;
        };
    };

    longpress_quick_record: longpress_quick_record {
        compatible = "zephyr,input-longpress";
        input-codes = <INPUT_KEY_KP1>;
        short-codes = <INPUT_KEY_1>;
        long-codes = <INPUT_KEY_F1>;
        long-delay-ms = <1000>;
    };
};

/ {
    fstab {
        compatible = "zephyr,fstab";
        lvgl_lfs: lvgl_lfs {
            compatible = "zephyr,fstab,littlefs";
            mount-point = "/lvgl_lfs";
            partition = <&littlefs_storage>;
            automount;
            read-size = <1024>;
            prog-size = <512>;
            cache-size = <4096>;
            lookahead-size = <4096>;
            block-cycles = <512>;
        };
    };
};

&i2c0 {
    apds9306: apds9306@52 {
        compatible = "avago,apds9306";
        reg = <0x52>;
        status = "okay";
    };

    bmp581: bmp581@47 {
        compatible = "zswatch,bmp581";
        reg = <0x47>;
    };
};

&flashcontroller0 {
    reg = <0x0 0x400000>;
};

&flash0 {
    reg = <0x0 0x400000>;

    partitions {
        littlefs_storage: partition@100000 {
            label = "littlefs_storage";
            reg = <0x00100000 0x000f0000>;
        };
        lvgl_raw_partition: partition@1f0000 {
            label = "lvgl_raw_partition";
            reg = <0x001f0000 0x0000d000>;
        };

        user_storage: partition@1fd000 {
            label = "user_storage";
            reg = <0x001fd000 0x00200000>;
        };
    };
};

/ {
    dmic_dev: dmic-emulator {
        compatible = "zephyr,dmic-emul";
        status = "okay";
        max-streams = <1>;
        sine-freq = <440>;
        amplitude = <20000>;
    };
};
```

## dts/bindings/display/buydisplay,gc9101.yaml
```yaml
# Copyright (c) 2025 ZSWatch Project
# SPDX-License-Identifier: Apache-2.0

description: GC9A01 display controller

compatible: "buydisplay,gc9a01"

include: [spi-device.yaml, display-controller.yaml]

properties:
    reset-gpios:
      type: phandle-array
      required: true
      description: RESET pin.

        The RESET pin of GC9A01 is active low.
        If connected directly the MCU pin should be configured
        as active low.

    bl-gpios:
      type: phandle-array
      required: true
      description: BL pin.

        Pin for backlight PWM control.

    dc-gpios:
      type: phandle-array
      required: true
      description: DC pin.

        The DC pin of GC9A01 is active low (transmission command byte).
        If connected directly the MCU pin should be configured
        as active low.

    rotation:
      type: int
      default: 0
      enum:
        - 0
        - 90
        - 180
        - 270
      description:
        Display rotation (CW) in degrees.

    pwr:
      type: uint8-array
      required: false
      description: Power Setting (PWR) values

    softstart:
      type: uint8-array
      required: false
      description: Booster Soft Start (BTST) values

    cdi:
      type: int
      required: false
      description: VCOM and data interval value

    tcon:
      type: int
      required: false
      description: TCON setting value
on-bus: spi
```

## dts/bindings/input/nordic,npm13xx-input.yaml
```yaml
# Device tree binding for NPM1300 input driver
description: Nordic NPM1300 SHIPHOLD button input driver

compatible: "nordic,npm13xx-input"

include: base.yaml

properties:
  mfd-device:
    type: phandle
    required: true
    description: Phandle to the NPM1300 MFD device

  zephyr,code:
    type: int
    required: true
    description: Key code to report for button press/release events
```

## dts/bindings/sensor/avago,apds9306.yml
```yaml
description: |
    The APDS-9306 is a light sensor sensor. See more info at:
    https://www.broadcom.com/products/optical-sensors/ambient-light-photo-sensors/apds-9306-065

compatible: "avago,apds9306"

include: [sensor-device.yaml, i2c-device.yaml]

properties:
    gain:
      type: int
    resolution:
      type: int
    frequency:
      type: int
```

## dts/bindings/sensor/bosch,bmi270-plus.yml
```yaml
# Copyright (c) 2025 ZSWatch Project
# SPDX-License-Identifier: Apache-2.0

description: |
    The BMI270 is an inertial measurement unit. See more info at:
    https://www.bosch-sensortec.com/products/motion-sensors/imus/bmi270.html

compatible: "bosch,bmi270-plus"

include: [sensor-device.yaml, i2c-device.yaml]

properties:
    int-gpios:
      type: phandle-array
      required: false

    swap-xy:
      type: boolean
      description: |
        Swap x and y axis.

    invert-x:
      type: boolean
      description: |
        Invert the x axis.

    invert-y:
      type: boolean
      description: |
        Invert the y axis.

    rotation:
      type: int
      default: 0
      enum:
        - 0
        - 90
        - 180
        - 270
      description:
        Display rotation (CW) in degrees.
        This will apply a rotation after actual axis-remap.
        Used to allow generic rotation of PCB for all PCB revision.
```

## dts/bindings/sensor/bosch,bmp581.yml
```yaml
# Copyright (c) 2025 ZSWatch Project
# SPDX-License-Identifier: Apache-2.0

description: |
    The BMP581 is a Barometric pressure sensor. See more info at:
    https://www.bosch-sensortec.com/products/environmental-sensors/pressure-sensors/bmp581/

compatible: "bosch,zsw_bmp581"

include: [sensor-device.yaml, i2c-device.yaml]

properties:
    int-gpios:
      type: phandle-array
      required: false
```

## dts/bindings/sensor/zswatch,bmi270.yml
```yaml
# Copyright (c) 2025 ZSWatch Project
# SPDX-License-Identifier: Apache-2.0

description: |
    The BMI270 is an inertial measurement unit. See more info at:
    https://www.bosch-sensortec.com/products/motion-sensors/imus/bmi270.html

compatible: "zswatch,bmi270"

include: [sensor-device.yaml, i2c-device.yaml]

properties:
    int-gpios:
      type: phandle-array
      required: false

    swap-xy:
      type: boolean
      description: |
        Swap x and y axis.

    invert-x:
      type: boolean
      description: |
        Invert the x axis.

    invert-y:
      type: boolean
      description: |
        Invert the y axis.

    rotation:
      type: int
      default: 0
      enum:
        - 0
        - 90
        - 180
        - 270
      description:
        Display rotation (CW) in degrees.
        This will apply a rotation after actual axis-remap.
        Used to allow generic rotation of PCB for all PCB revision.
```

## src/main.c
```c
/*
 * This file is part of ZSWatch project <https://github.com/zswatch/>.
 * Copyright (c) 2025 ZSWatch Project.
 *
 * This program is free software: you can redistribute it and/or modify
 * it under the terms of the GNU General Public License as published by
 * the Free Software Foundation, version 3.
 *
 * This program is distributed in the hope that it will be useful, but
 * WITHOUT ANY WARRANTY; without even the implied warranty of
 * MERCHANTABILITY or FITNESS FOR A PARTICULAR PURPOSE. See the GNU
 * General Public License for more details.
 *
 * You should have received a copy of the GNU General Public License
 * along with this program. If not, see <http://www.gnu.org/licenses/>.
 */

#include <stdio.h>
#include <string.h>
#include <stdint.h>
#include <sys/time.h>

#include <zephyr/kernel.h>
#include <zephyr/pm/device.h>
#include <zephyr/pm/policy.h>
#include <zephyr/logging/log.h>
#include <zephyr/input/input.h>
#include <zephyr/fatal.h>
#include <zephyr/sys/reboot.h>

#include <zephyr/bluetooth/bluetooth.h>
#include <zephyr/settings/settings.h>
#include <zephyr/zbus/zbus.h>
#include <zephyr/retention/bootmode.h>

#include <lvgl.h>

#include <zsw_clock.h>
#include "zsw_clock_timezone.h"
#include <zsw_retained_ram_storage.h>
#include <zsw_coredump.h>

#include "ui/zsw_ui.h"
#include "ui/popup/zsw_popup_window.h"
#include "zsw_ui_controller.h"

#include "ble/ble_comm.h"
#include "ble/ble_aoa.h"
#include "ble/ble_ams.h"
#include "ble/ble_ancs.h"
#include "ble/ble_cts.h"

#include "events/ble_event.h"

#include "sensors/zsw_imu.h"
#include "sensors/zsw_magnetometer.h"
#include "sensors/zsw_pressure_sensor.h"
#include "sensors/zsw_light_sensor.h"

#include "drivers/zsw_vibration_motor.h"
#include "drivers/zsw_display_control.h"

#include "managers/zsw_power_manager.h"
#include "managers/zsw_hr_manager.h"
#include "managers/zsw_app_manager.h"
#include "managers/zsw_notification_manager.h"

#include "applications/altimeter/altimeter_app.h"
#include "sensors/zsw_floor_counter.h"
#include "applications/watchface/watchface_app.h"

#include <filesystem/zsw_rtt_flash_loader.h>
#include <filesystem/zsw_filesystem.h>

#include "fuel_gauge/zsw_pmic.h"
#include "managers/zsw_microphone_manager.h"

#ifdef CONFIG_APPLICATIONS_USE_VOICE_MEMO
#include "managers/zsw_recording_manager.h"
#include "ui/overlay/zsw_voice_memo_popup.h"
#endif

LOG_MODULE_REGISTER(main, CONFIG_ZSW_APP_LOG_LEVEL);

static void run_init_work(struct k_work *item);
static void enable_bluetooth(void);
static void print_retention_ram(void);
static void open_notification_popup(void *data);
static void on_zbus_notification_callback(const struct zbus_channel *chan);
static void on_zbus_ble_data_callback(const struct zbus_channel *chan);

K_WORK_DEFINE(init_work, run_init_work);

ZBUS_CHAN_DECLARE(ble_comm_data_chan);
ZBUS_LISTENER_DEFINE(main_ble_comm_lis, on_zbus_ble_data_callback);
ZBUS_LISTENER_DEFINE(main_notification_lis, on_zbus_notification_callback);

static bool pending_not_open = false;

static void run_init_work(struct k_work *item)
{
    zsw_coredump_init();

    zsw_display_control_init();
    zsw_display_control_sleep_ctrl(true);

    zsw_notification_manager_init();

    enable_bluetooth();
    if (IS_ENABLED(CONFIG_ZSW_HR_MANAGER)) {
        int hr_rc = zsw_hr_manager_init();
        if (hr_rc) {
            LOG_ERR("HR manager initialization failed: %d", hr_rc);
        }
    }

    zsw_imu_init();
    zsw_magnetometer_init();
    zsw_pressure_sensor_init();
    zsw_floor_counter_init();
    zsw_light_sensor_init();

    zsw_power_manager_init();

    zsw_ui_controller_init();

#ifdef CONFIG_AUDIO_DMIC
    zsw_microphone_manager_init();
#endif

#ifdef CONFIG_APPLICATIONS_USE_VOICE_MEMO
    zsw_recording_manager_init();
    zsw_voice_memo_popup_init();
#endif

    print_retention_ram();
#ifdef CONFIG_SPI_FLASH_LOADER
    if (NUM_RAW_FS_FILES != zsw_filesytem_get_num_rawfs_files()) {
        LOG_ERR("Number of rawfs files does not match the number of files in the file table: %d / %d",
                zsw_filesytem_get_num_rawfs_files(), NUM_RAW_FS_FILES);
        zsw_popup_show("Warning", "Missing files in external flash\nPlease run:\nwest upload_fs", NULL, 5, false);
    }
#endif

    LOG_INF("ZSWatch application started");
}

int main(void)
{
#ifdef CONFIG_SPI_FLASH_LOADER
    if (bootmode_check(ZSW_BOOT_MODE_RTT_FLASH_LOADER)) {
        LOG_WRN("SPI Flash Loader Boot Mode");
        zsw_rtt_flash_loader_start();
        return 0;
    } else if (bootmode_check(ZSW_BOOT_MODE_FLASH_ERASE)) {
        zsw_rtt_flash_loader_erase_external();
    }
#endif
    // The init code requires a bit of stack.
    // So in order to not increase CONFIG_MAIN_STACK_SIZE and loose
    // this RAM forever, instead re-use the system workqueue for init
    // it has the required amount of stack.
    k_work_submit(&init_work);

    return 0;
}

static void enable_bluetooth(void)
{
    int err;

#ifdef CONFIG_ARCH_POSIX
    bt_addr_le_t addr;

    err = bt_addr_le_from_str("DE:AD:BE:EF:BA:11", "random", &addr);
    if (err) {
        LOG_ERR("Invalid BT address (err %d)", err);
    }

    err = bt_id_create(&addr, NULL);
    if (err < 0) {
        LOG_ERR("Creating new ID failed (err %d)", err);
    }
#endif

    err = bt_enable(NULL);
    if (err != 0) {
        LOG_ERR("Failed to enable Bluetooth, err: %d", err);
        return;
    }

#ifdef CONFIG_SETTINGS
    int settings_err = settings_load();
    if (settings_err != 0) {
        LOG_ERR("Failed to load settings: %d", settings_err);
    }
#endif

    __ASSERT_NO_MSG(ble_comm_init() == 0);
    bleAoaInit();
#ifdef CONFIG_BT_AMS_CLIENT
    ble_ams_init();
    ble_cts_init();
#endif
#ifdef CONFIG_BT_ANCS_CLIENT
    ble_ancs_init();
#endif
}

static void on_close_popup_notification(uint32_t id)
{
    zsw_notification_manager_remove(id);
}

static void open_notification_popup(void *data)
{
    zsw_not_mngr_notification_t *not = zsw_notification_manager_get_newest();
    if (not != NULL) {
        zsw_vibration_run_pattern(ZSW_VIBRATION_PATTERN_NOTIFICATION);
        zsw_notification_popup_show(not, on_close_popup_notification, 10);
    }
    pending_not_open = false;
}

static void on_zbus_notification_callback(const struct zbus_channel *chan)
{
    if (zsw_notification_popup_is_shown() || pending_not_open) {
        return;
    }

    if (zsw_power_manager_get_state() != ZSW_ACTIVITY_STATE_NOT_WORN_STATIONARY) {
        pending_not_open = true;
        zsw_power_manager_reset_idle_timout();
        lv_async_call(open_notification_popup, NULL);
    }
}

static void on_zbus_ble_data_callback(const struct zbus_channel *chan)
{
    const struct ble_data_event *event = zbus_chan_const_msg(chan);

    switch (event->data.type) {
        case BLE_COMM_DATA_TYPE_SET_TIME: {
            if (event->data.data.time.seconds > 0) {
                zsw_timeval_t ztm;
                time_t seconds = event->data.data.time.seconds;
                memcpy(&ztm.tm, localtime(&seconds), sizeof(ztm.tm));
                zsw_clock_set_time(&ztm);
            }

            if (event->data.data.time.tz_offset_valid) {
                char tz[16];
                if (!zsw_clock_format_timezone(event->data.data.time.tz_offset, tz, sizeof(tz))) {
                    LOG_WRN("Invalid timezone offset");
                    break;
                }

#ifdef CONFIG_RTC
                if (zsw_clock_rtc_available()) {
                    // When using RTC, we need to adjust the current rtc_time according to the timezone.
                    zsw_timeval_t ztm;
                    zsw_clock_get_time(&ztm);
                    ztm.tm.tm_year -= 1900;
                    time_t current_rtc_time = mktime(rtc_time_to_tm(&ztm.tm));
                    zsw_clock_set_timezone(tz);
                    memcpy(&ztm.tm, localtime(&current_rtc_time), sizeof(ztm.tm)); // Adjust the time according to the new timezone
                    zsw_clock_set_time(&ztm);
                } else {
                    zsw_clock_set_timezone(tz);
                }
#else
                zsw_clock_set_timezone(tz);
#endif
            }
            break;
        }
        case BLE_COMM_DATA_TYPE_WEATHER:
            break;
        default:
            break;
    }
}

static void print_retention_ram(void)
{
    LOG_DBG("Boot count: %u\n", retained.boots);
    LOG_DBG("uptime_latest: %" PRIu64 "\n", retained.uptime_latest);
    LOG_DBG("Active Ticks: %" PRIu64 "\n", retained.uptime_sum);
}

#ifndef CONFIG_RESET_ON_FATAL_ERROR
void k_sys_fatal_error_handler(unsigned int reason, const z_arch_esf_t *esf)
{
    ARG_UNUSED(esf);
    ARG_UNUSED(reason);

    LOG_PANIC();

    LOG_ERR("Resetting system");
    sys_reboot(SYS_REBOOT_COLD);

    CODE_UNREACHABLE;
}
#endif
```

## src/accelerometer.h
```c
#ifndef ACCELEROMETER_H_
#define ACCELEROMETER_H_

#include <zephyr/drivers/sensor.h>

typedef enum accelerometer_evt_type_t {
    ACCELEROMETER_EVT_TYPE_XYZ,
    ACCELEROMETER_EVT_TYPE_DOOUBLE_TAP,
    ACCELEROMETER_EVT_TYPE_STEP,
    ACCELEROMETER_EVT_TYPE_TILT,
} accelerometer_evt_type_t;

typedef struct accelerometer_data_xyz_t {
    int16_t x;
    int16_t y;
    int16_t z;
} accelerometer_data_xyz_t;

typedef struct accelerometer_data_step_t {
    int16_t count;
} accelerometer_data_step_t;

typedef struct accelerometer_evt_t {
    accelerometer_evt_type_t type;
    union {
        accelerometer_data_xyz_t    xyz;
        accelerometer_data_step_t   step;
    } data;
} accelerometer_evt_t;

int accelerometer_init(void);

int accelerometer_fetch_xyz(int16_t *x, int16_t *y, int16_t *z);

int accelerometer_fetch_temperature(struct sensor_value *temperature);

int accelerometer_fetch_num_steps(int16_t *num_steps);

int accelerometer_reset_step_count(void);


#endif
```

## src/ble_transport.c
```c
#include <ble_transport.h>
#include <zephyr/bluetooth/conn.h>
#include <zephyr/bluetooth/uuid.h>
#include <zephyr/bluetooth/gatt.h>
#include <zephyr/logging/log.h>

LOG_MODULE_REGISTER(ble_transport, LOG_LEVEL_DBG);

static struct ble_transport_cb* callbacks;

static ssize_t on_receive(struct bt_conn *conn,
			  const struct bt_gatt_attr *attr,
			  const void *buf,
			  uint16_t len,
			  uint16_t offset,
			  uint8_t flags)
{
	LOG_DBG("Received data, handle %d, conn %p",
		attr->handle, (void *)conn);

	if (callbacks->data_receive) {
		callbacks->data_receive(conn, buf, len);
}
	return len;
}

BT_GATT_SERVICE_DEFINE(nus_service,
BT_GATT_PRIMARY_SERVICE(BLE_TRANSPORT_UUID_SERVICE),
	BT_GATT_CHARACTERISTIC(BLE_TRANSPORT_UUID_TX,
			       BT_GATT_CHRC_NOTIFY,
			       //BT_GATT_PERM_READ_AUTHEN, TODO when pairing is re-added
			       BT_GATT_PERM_READ,
			       NULL, NULL, NULL),
	BT_GATT_CCC(NULL,
			       //BT_GATT_PERM_READ_AUTHEN | BT_GATT_PERM_WRITE_AUTHEN),
			       BT_GATT_PERM_READ | BT_GATT_PERM_WRITE),
	BT_GATT_CHARACTERISTIC(BLE_TRANSPORT_UUID_RX,
			       BT_GATT_CHRC_WRITE |
			       BT_GATT_CHRC_WRITE_WITHOUT_RESP,
			       //BT_GATT_PERM_READ_AUTHEN | BT_GATT_PERM_WRITE_AUTHEN,
			       BT_GATT_PERM_READ | BT_GATT_PERM_WRITE,
			       NULL, on_receive, NULL),
);

int ble_transport_init(struct ble_transport_cb *callback)
{
	if (callback) {
		callbacks = callback;
	}

	return 0;
}

int ble_transport_send(struct bt_conn *connection, const uint8_t *data, uint16_t length)
{
	struct bt_gatt_notify_params params = {0};
	const struct bt_gatt_attr *attr = &nus_service.attrs[2];

	params.attr = attr;
	params.data = data;
	params.len = length;

	if (connection && bt_gatt_is_subscribed(connection, attr, BT_GATT_CCC_NOTIFY)) {
		return bt_gatt_notify_cb(connection, &params);
	} else {
		return -EINVAL;
	}
}
```
